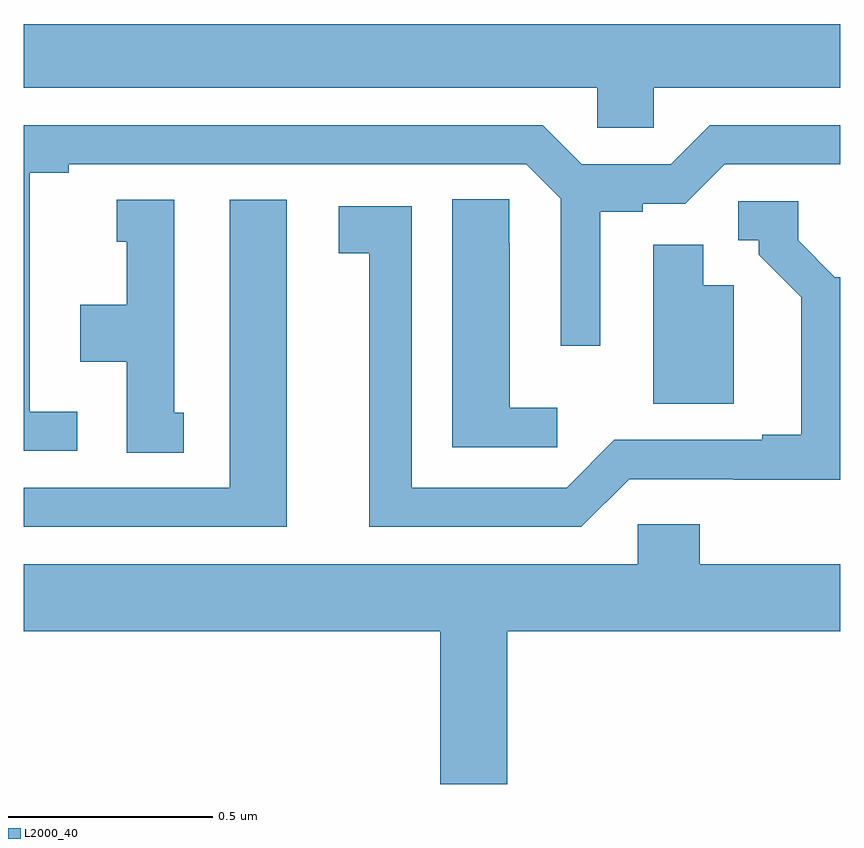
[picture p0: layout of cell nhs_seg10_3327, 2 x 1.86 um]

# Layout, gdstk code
import gdstk
lib = gdstk.Library(unit=1e-6, precision=1e-09)
def P(c, l, *ps):  # polygons
    for p in ps: c.add(gdstk.Polygon(p, *l))
L2000_40 = (2000, 40)

nhs_seg10_3327 = lib.new_cell('nhs_seg10_3327')
P(nhs_seg10_3327, L2000_40, [(153.543,1272.344),(154,1272.344),(154,1272.5),(152,1272.5),(152,1272.344),(153.405,1272.344),(153.405,1272.246),(153.543,1272.246)],
  [(152.131,1271.55),(152.014,1271.55),(152.014,1272.136),(152.11,1272.136),(152.11,1272.156),(153.231,1272.156),(153.315,1272.072),(153.315,1271.712),(153.412,1271.712),(153.412,1272.04),(153.516,1272.04),(153.516,1272.06),(153.621,1272.06),(153.717,1272.156),(154,1272.156),(154,1272.252),(153.681,1272.252),(153.585,1272.156),(153.367,1272.156),(153.271,1272.252),(152,1272.252),(152,1271.454),(152.131,1271.454)],
  [(153.307,1271.56),(153.19,1271.56),(153.19,1271.963),(153.189,1271.963),(153.189,1272.071),(153.05,1272.071),(153.05,1271.463),(153.307,1271.463)],
  [(152.644,1272.07),(152.504,1272.07),(152.504,1271.364),(152,1271.364),(152,1271.268),(152.644,1271.268)],
  [(152.392,1271.547),(152.368,1271.547),(152.368,1272.07),(152.228,1272.07),(152.228,1271.967),(152.252,1271.967),(152.252,1271.812),(152.138,1271.812),(152.138,1271.672),(152.252,1271.672),(152.252,1271.449),(152.392,1271.449)],
  [(153.483,1271.385),(153.739,1271.385),(153.739,1271.384),(154,1271.384),(154,1271.88),(153.987,1271.88),(153.897,1271.97),(153.897,1272.066),(153.75,1272.066),(153.75,1271.97),(153.8,1271.97),(153.8,1271.935),(153.905,1271.83),(153.905,1271.494),(153.809,1271.494),(153.809,1271.481),(153.447,1271.481),(153.33,1271.364),(152.95,1271.364),(152.95,1272.054),(152.772,1272.054),(152.772,1271.938),(152.846,1271.938),(152.846,1271.268),(153.366,1271.268)],
  [(153.739,1271.86),(153.664,1271.86),(153.664,1271.959),(153.542,1271.959),(153.542,1271.57),(153.739,1271.57)],
  [(153.184,1271.012),(154,1271.012),(154,1271.176),(153.656,1271.176),(153.656,1271.274),(153.504,1271.274),(153.504,1271.176),(152,1271.176),(152,1271.012),(153.02,1271.012),(153.02,1270.638),(153.184,1270.638)])

lib.write_gds('nhs_seg10_3327.gds')
